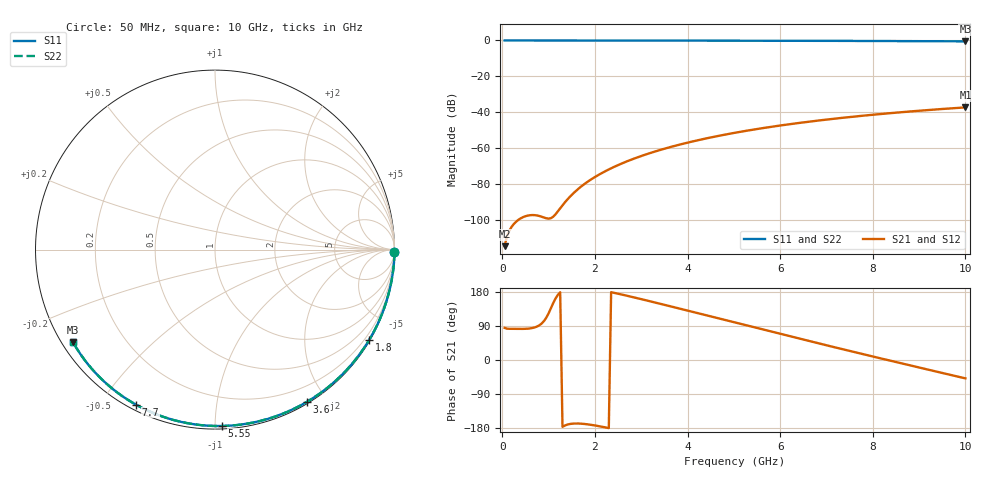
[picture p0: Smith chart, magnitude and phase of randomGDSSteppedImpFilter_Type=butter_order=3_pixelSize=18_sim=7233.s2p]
! freq	dB(S11)	phase(S11)	dB(S12)	phase(S12)
!  dB(S21)	phase(S21)	dB(S22)	phase(S22)
!S-par simulation data
#  GHz  S  DB  R 50
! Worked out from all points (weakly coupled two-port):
!   200 points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, 50 MHz to 10 GHz, reference 50 ohm
!   highest |S21| = -37.27 dB at 10 GHz (marker M1); lowest = -114.6 dB at 50 MHz (marker M2)
!   lowest |S11| = -0.5 dB at 10 GHz (marker M3), VSWR 35.13, Z = 1.55 - j14.9 ohm
!   |S11| at or under -10 dB: nowhere
!   |S22| runs from -0.5 to 0.0 dB; largest |S21 - S12| = 0
!   S11 on the Smith chart (normalised r, x): 50 MHz: open; 1.8 GHz: 0.03, -3.70; 3.6 GHz: 0.02, -1.77; 5.55 GHz: 0.02, -1.04; 7.7 GHz: 0.02, -0.61; 10 GHz: 0.03, -0.30
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0.05  -0.00 -0.9  -114.55 84.8  -114.55 84.8  -0.00 -0.9
0.45  -0.01 -7.7  -98.36 82.1  -98.36 82.1  -0.01 -7.7
0.9  -0.02 -15.3  -98.60 102.8  -98.60 102.8  -0.02 -15.3
1.3  -0.03 -22.0  -91.80 -176.4  -91.80 -176.4  -0.03 -22.0
1.75  -0.04 -29.4  -80.40 -168.5  -80.40 -168.5  -0.04 -29.4
1.8  -0.04 -30.2  -79.44 -169.2  -79.44 -169.2  -0.04 -30.2
1.95  -0.04 -32.7  -76.84 -171.7  -76.84 -171.7  -0.04 -32.7
2.1  -0.04 -35.2  -74.54 -174.9  -74.54 -174.9  -0.04 -35.2
2.3  -0.05 -38.4  -71.82 -179.7  -71.82 -179.7  -0.05 -38.4
2.5  -0.05 -41.6  -69.40 175.0  -69.40 175.0  -0.05 -41.6
2.9  -0.06 -48.0  -65.27 163.6  -65.27 163.6  -0.06 -48.0
3.4  -0.07 -55.9  -61.04 148.7  -61.04 148.7  -0.07 -55.9
3.6  -0.08 -59.0  -59.56 142.6  -59.56 142.6  -0.08 -59.0
4.3  -0.10 -69.6  -55.12 121.1  -55.12 121.1  -0.10 -69.6
5.05  -0.12 -80.6  -51.28 98.0  -51.28 98.0  -0.12 -80.6
5.55  -0.14 -87.8  -49.11 82.7  -49.11 82.7  -0.14 -87.8
6.1  -0.17 -95.5  -47.00 65.9  -47.00 65.9  -0.17 -95.5
6.7  -0.20 -103.7  -44.98 47.8  -44.98 47.8  -0.20 -103.7
7.7  -0.27 -117.0  -42.13 18.1  -42.13 18.1  -0.27 -117.0
8.35  -0.32 -125.5  -40.54 -1.0  -40.54 -1.0  -0.32 -125.5
9.2  -0.40 -136.5  -38.74 -25.6  -38.74 -25.6  -0.40 -136.5
10  -0.49 -146.8  -37.27 -48.5  -37.27 -48.5  -0.49 -146.8
